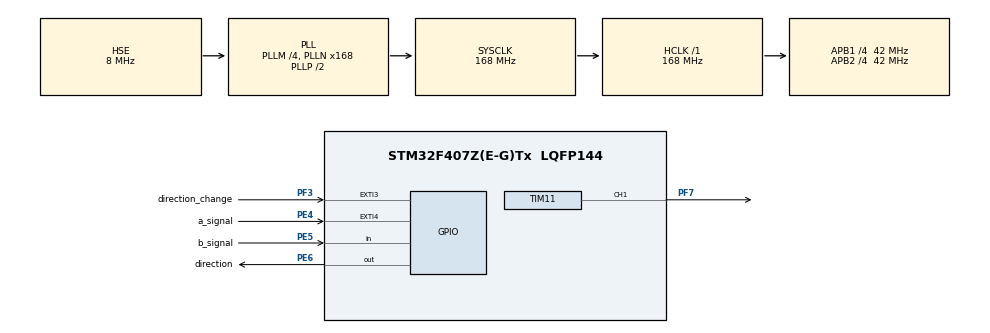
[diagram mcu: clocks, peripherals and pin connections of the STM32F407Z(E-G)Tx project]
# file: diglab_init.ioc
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Mcu.Family=STM32F4
Mcu.Name=STM32F407Z(E-G)Tx
Mcu.Package=LQFP144
NVIC.EXTI3_IRQn=true\:0\:0\:false\:false\:true\:true\:true\:true
NVIC.EXTI4_IRQn=true\:0\:0\:false\:false\:true\:true\:true\:true
NVIC.PriorityGroup=NVIC_PRIORITYGROUP_4
NVIC.TIM6_DAC_IRQn=true\:0\:0\:false\:false\:true\:true\:true\:true
NVIC.TIM7_IRQn=true\:0\:0\:false\:false\:true\:true\:true\:true
PE4.GPIO_Label=a_signal
PE4.Signal=GPXTI4
PE5.GPIO_Label=b_signal
PE5.Signal=GPIO_Input
PE6.GPIO_Label=direction
PE6.Signal=GPIO_Output
PF3.GPIO_Label=direction_change
PF3.Signal=GPXTI3
PF7.Signal=S_TIM11_CH1
PH0-OSC_IN.Mode=HSE-External-Oscillator
PH0-OSC_IN.Signal=RCC_OSC_IN
PH1-OSC_OUT.Mode=HSE-External-Oscillator
PH1-OSC_OUT.Signal=RCC_OSC_OUT
ProjectManager.HeapSize=0x200
ProjectManager.StackSize=0x400
ProjectManager.TargetToolchain=STM32CubeIDE
RCC.48MHZClocksFreq_Value=84000000
RCC.AHBFreq_Value=168000000
RCC.APB1CLKDivider=RCC_HCLK_DIV4
RCC.APB1Freq_Value=42000000
RCC.APB1TimFreq_Value=84000000
RCC.APB2CLKDivider=RCC_HCLK_DIV4
RCC.APB2Freq_Value=42000000
RCC.APB2TimFreq_Value=84000000
RCC.CortexFreq_Value=168000000
RCC.HCLKFreq_Value=168000000
RCC.HSE_VALUE=8000000
RCC.HSI_VALUE=16000000
RCC.LSE_VALUE=32768
RCC.PLLM=4
RCC.PLLN=168
RCC.PLLSourceVirtual=RCC_PLLSOURCE_HSE
RCC.SYSCLKFreq_VALUE=168000000
RCC.SYSCLKSource=RCC_SYSCLKSOURCE_PLLCLK
RCC.VCOOutputFreq_Value=336000000
SH.S_TIM11_CH1.0=TIM11_CH1,PWM Generation1 CH1
TIM11.Channel=TIM_CHANNEL_1
TIM6.AutoReloadPreload=TIM_AUTORELOAD_PRELOAD_ENABLE
TIM6.TIM_MasterOutputTrigger=TIM_TRGO_UPDATE
TIM7.AutoReloadPreload=TIM_AUTORELOAD_PRELOAD_ENABLE
VP_TIM11_VS_ClockSourceINT.Mode=Enable_Timer
VP_TIM6_VS_ClockSourceINT.Mode=Enable_Timer
VP_TIM7_VS_ClockSourceINT.Mode=Enable_Timer
board=custom

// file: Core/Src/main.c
/* USER CODE BEGIN Header */
/**
 ******************************************************************************
 * @file           : main.c
 * @brief          : Main program body
 ******************************************************************************
 * @attention
 *
 * <h2><center>&copy; Copyright (c) 2022 STMicroelectronics.
 * All rights reserved.</center></h2>
 *
 * This software component is licensed by ST under BSD 3-Clause license,
 * the "License"; You may not use this file except in compliance with the
 * License. You may obtain a copy of the License at:
 *                        opensource.org/licenses/BSD-3-Clause
 *
 ******************************************************************************
 */
/* USER CODE END Header */
#include "main.h"

TIM_HandleTypeDef htim6;
TIM_HandleTypeDef htim7;
TIM_HandleTypeDef htim11;

/* USER CODE BEGIN PV */

uint16_t speed_pulse = 0;
uint16_t rpm = 0;
uint16_t position_pulse = 0;
uint16_t position = 0;
uint8_t direction = 0;
int a = 0;

typedef enum {
	INIT, OUT_OF_DEAD_STATE, INC_STEP, TIME_STEP, TIME_STEP_CALC,
} state;

state system_state = INIT;

/* USER CODE END PV */

void SystemClock_Config(void);
static void MX_GPIO_Init(void);
static void MX_TIM6_Init(void);
static void MX_TIM11_Init(void);
static void MX_TIM7_Init(void);

int main(void) {

	/* MCU Configuration--------------------------------------------------------*/

	/* Reset of all peripherals, Initializes the Flash interface and the Systick. */
	HAL_Init();

	/* Configure the system clock */
	SystemClock_Config();

	/* Initialize all configured peripherals */
	MX_GPIO_Init();
	MX_TIM6_Init();
	MX_TIM11_Init();
	MX_TIM7_Init();
	/* USER CODE BEGIN 2 */

	TIM6->PSC = 349;
	TIM6->ARR = 9999;

	TIM7->PSC = 167;
	TIM7->ARR = 9999;

	HAL_TIM_Base_Start_IT(&htim6);

	TIM11->PSC = 5;
	TIM11->ARR = 950;
	TIM11->CCR1 = 300;
	HAL_TIM_PWM_Start(&htim11, TIM_CHANNEL_1);
//	HAL_GPIO_WritePin(direction_GPIO_Port, direction_Pin, GPIO_PIN_SET);
//	HAL_Delay(5000);
//	HAL_GPIO_WritePin(direction_GPIO_Port, direction_Pin, GPIO_PIN_RESET);
	/* USER CODE END 2 */

	/* Infinite loop */
	while (1) {

	}
}

void SystemClock_Config(void) {
	RCC_OscInitTypeDef RCC_OscInitStruct = { 0 };
	RCC_ClkInitTypeDef RCC_ClkInitStruct = { 0 };

	/** Configure the main internal regulator output voltage
	 */
	__HAL_RCC_PWR_CLK_ENABLE();
	__HAL_PWR_VOLTAGESCALING_CONFIG(PWR_REGULATOR_VOLTAGE_SCALE1);

	/** Initializes the RCC Oscillators according to the specified parameters
	 * in the RCC_OscInitTypeDef structure.
	 */
	RCC_OscInitStruct.OscillatorType = RCC_OSCILLATORTYPE_HSE;
	RCC_OscInitStruct.HSEState = RCC_HSE_ON;
	RCC_OscInitStruct.PLL.PLLState = RCC_PLL_ON;
	RCC_OscInitStruct.PLL.PLLSource = RCC_PLLSOURCE_HSE;
	RCC_OscInitStruct.PLL.PLLM = 4;
	RCC_OscInitStruct.PLL.PLLN = 168;
	RCC_OscInitStruct.PLL.PLLP = RCC_PLLP_DIV2;
	RCC_OscInitStruct.PLL.PLLQ = 4;
	if (HAL_RCC_OscConfig(&RCC_OscInitStruct) != HAL_OK) {
		Error_Handler();
	}

	/** Initializes the CPU, AHB and APB buses clocks
	 */
	RCC_ClkInitStruct.ClockType = RCC_CLOCKTYPE_HCLK | RCC_CLOCKTYPE_SYSCLK
			| RCC_CLOCKTYPE_PCLK1 | RCC_CLOCKTYPE_PCLK2;
	RCC_ClkInitStruct.SYSCLKSource = RCC_SYSCLKSOURCE_PLLCLK;
	RCC_ClkInitStruct.AHBCLKDivider = RCC_SYSCLK_DIV1;
	RCC_ClkInitStruct.APB1CLKDivider = RCC_HCLK_DIV4;
	RCC_ClkInitStruct.APB2CLKDivider = RCC_HCLK_DIV4;

	if (HAL_RCC_ClockConfig(&RCC_ClkInitStruct, FLASH_LATENCY_5) != HAL_OK) {
		Error_Handler();
	}
}

static void MX_TIM6_Init(void) {

	TIM_MasterConfigTypeDef sMasterConfig = { 0 };

	htim6.Instance = TIM6;
	htim6.Init.Prescaler = 0;
	htim6.Init.CounterMode = TIM_COUNTERMODE_UP;
	htim6.Init.Period = 65535;
	htim6.Init.AutoReloadPreload = TIM_AUTORELOAD_PRELOAD_ENABLE;
	if (HAL_TIM_Base_Init(&htim6) != HAL_OK) {
		Error_Handler();
	}
	sMasterConfig.MasterOutputTrigger = TIM_TRGO_UPDATE;
	sMasterConfig.MasterSlaveMode = TIM_MASTERSLAVEMODE_DISABLE;
	if (HAL_TIMEx_MasterConfigSynchronization(&htim6, &sMasterConfig)
			!= HAL_OK) {
		Error_Handler();
	}

}

static void MX_TIM7_Init(void) {

	TIM_MasterConfigTypeDef sMasterConfig = { 0 };

	htim7.Instance = TIM7;
	htim7.Init.Prescaler = 0;
	htim7.Init.CounterMode = TIM_COUNTERMODE_UP;
	htim7.Init.Period = 65535;
	htim7.Init.AutoReloadPreload = TIM_AUTORELOAD_PRELOAD_ENABLE;
	if (HAL_TIM_Base_Init(&htim7) != HAL_OK) {
		Error_Handler();
	}
	sMasterConfig.MasterOutputTrigger = TIM_TRGO_RESET;
	sMasterConfig.MasterSlaveMode = TIM_MASTERSLAVEMODE_DISABLE;
	if (HAL_TIMEx_MasterConfigSynchronization(&htim7, &sMasterConfig)
			!= HAL_OK) {
		Error_Handler();
	}

}

static void MX_TIM11_Init(void) {

	TIM_OC_InitTypeDef sConfigOC = { 0 };

	htim11.Instance = TIM11;
	htim11.Init.Prescaler = 0;
	htim11.Init.CounterMode = TIM_COUNTERMODE_UP;
	htim11.Init.Period = 65535;
	htim11.Init.ClockDivision = TIM_CLOCKDIVISION_DIV1;
	htim11.Init.AutoReloadPreload = TIM_AUTORELOAD_PRELOAD_DISABLE;
	if (HAL_TIM_Base_Init(&htim11) != HAL_OK) {
		Error_Handler();
	}
	if (HAL_TIM_PWM_Init(&htim11) != HAL_OK) {
		Error_Handler();
	}
	sConfigOC.OCMode = TIM_OCMODE_PWM1;
	sConfigOC.Pulse = 0;
	sConfigOC.OCPolarity = TIM_OCPOLARITY_HIGH;
	sConfigOC.OCFastMode = TIM_OCFAST_DISABLE;
	if (HAL_TIM_PWM_ConfigChannel(&htim11, &sConfigOC, TIM_CHANNEL_1)
			!= HAL_OK) {
		Error_Handler();
	}
	HAL_TIM_MspPostInit(&htim11);

}

static void MX_GPIO_Init(void) {
	GPIO_InitTypeDef GPIO_InitStruct = { 0 };

	/* GPIO Ports Clock Enable */
	__HAL_RCC_GPIOE_CLK_ENABLE();
	__HAL_RCC_GPIOF_CLK_ENABLE();
	__HAL_RCC_GPIOH_CLK_ENABLE();

	/*Configure GPIO pin Output Level */
	HAL_GPIO_WritePin(direction_GPIO_Port, direction_Pin, GPIO_PIN_RESET);

	/*Configure GPIO pin : a_signal_Pin */
	GPIO_InitStruct.Pin = a_signal_Pin;
	GPIO_InitStruct.Mode = GPIO_MODE_IT_RISING;
	GPIO_InitStruct.Pull = GPIO_NOPULL;
	HAL_GPIO_Init(a_signal_GPIO_Port, &GPIO_InitStruct);

	/*Configure GPIO pin : b_signal_Pin */
	GPIO_InitStruct.Pin = b_signal_Pin;
	GPIO_InitStruct.Mode = GPIO_MODE_INPUT;
	GPIO_InitStruct.Pull = GPIO_NOPULL;
	HAL_GPIO_Init(b_signal_GPIO_Port, &GPIO_InitStruct);

	/*Configure GPIO pin : direction_Pin */
	GPIO_InitStruct.Pin = direction_Pin;
	GPIO_InitStruct.Mode = GPIO_MODE_OUTPUT_PP;
	GPIO_InitStruct.Pull = GPIO_NOPULL;
	GPIO_InitStruct.Speed = GPIO_SPEED_FREQ_LOW;
	HAL_GPIO_Init(direction_GPIO_Port, &GPIO_InitStruct);

	/*Configure GPIO pin : direction_change_Pin */
	GPIO_InitStruct.Pin = direction_change_Pin;
	GPIO_InitStruct.Mode = GPIO_MODE_IT_RISING;
	GPIO_InitStruct.Pull = GPIO_NOPULL;
	HAL_GPIO_Init(direction_change_GPIO_Port, &GPIO_InitStruct);

	/* EXTI interrupt init*/
	HAL_NVIC_SetPriority(EXTI3_IRQn, 0, 0);
	HAL_NVIC_EnableIRQ(EXTI3_IRQn);

	HAL_NVIC_SetPriority(EXTI4_IRQn, 0, 0);
	HAL_NVIC_EnableIRQ(EXTI4_IRQn);

}

/* USER CODE BEGIN 4 */

void HAL_TIM_PeriodElapsedCallback(TIM_HandleTypeDef *htim) {
	if (htim->Instance == TIM6) {
		rpm = (speed_pulse * 600) / 400;
		position = position_pulse % 400;
		speed_pulse = 0;
	}

}

void HAL_GPIO_EXTI_Callback(uint16_t GPIO_Pin) {
	if (GPIO_Pin == a_signal_Pin) {
		speed_pulse++;
	}

	if (HAL_GPIO_ReadPin(b_signal_GPIO_Port, b_signal_Pin) == GPIO_PIN_SET) {
		direction = 1;
		position_pulse--;
	} else {
		direction = 0;
		position_pulse++;
	}

	if (GPIO_Pin == direction_change_Pin) {
		a = 1;
		if (HAL_GPIO_ReadPin(direction_GPIO_Port, direction_Pin) == GPIO_PIN_RESET)
			HAL_GPIO_WritePin(direction_GPIO_Port, direction_Pin, GPIO_PIN_SET);

		else {
			HAL_GPIO_WritePin(direction_GPIO_Port, direction_Pin,
					GPIO_PIN_RESET);
		}
	}
}

/* USER CODE END 4 */

void Error_Handler(void) {
	__disable_irq();
	while (1) {
	}
}
